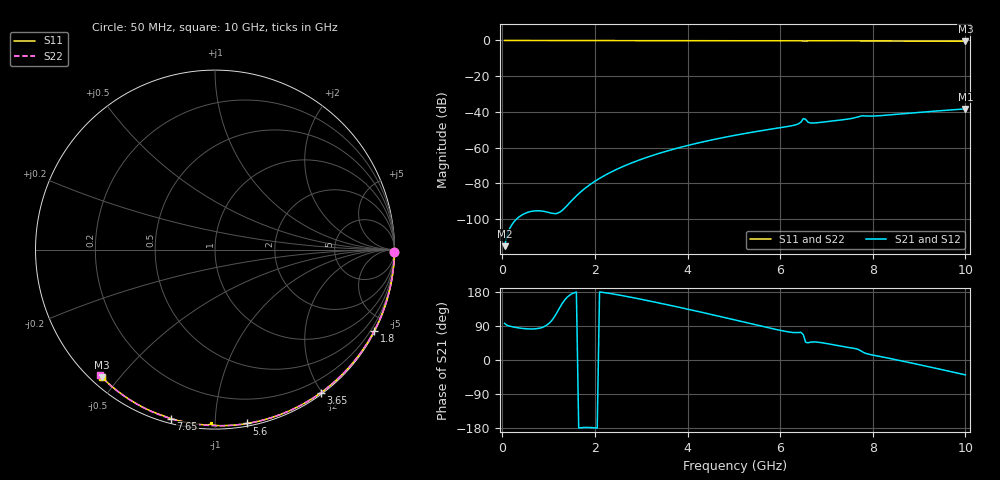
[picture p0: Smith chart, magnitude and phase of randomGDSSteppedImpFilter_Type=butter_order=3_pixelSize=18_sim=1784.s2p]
! freq	dB(S11)	phase(S11)	dB(S12)	phase(S12)
!  dB(S21)	phase(S21)	dB(S22)	phase(S22)
!S-par simulation data
#  GHz  S  DB  R 50
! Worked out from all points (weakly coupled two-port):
!   200 points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, 50 MHz to 10 GHz, reference 50 ohm
!   highest |S21| = -38.30 dB at 10 GHz (marker M1); lowest = -115.1 dB at 50 MHz (marker M2)
!   lowest |S11| = -0.4 dB at 10 GHz (marker M3), VSWR 38.70, Z = 1.55 - j22.5 ohm
!   |S11| at or under -10 dB: nowhere
!   |S22| runs from -0.4 to 0.0 dB; largest |S21 - S12| = 0
!   S11 on the Smith chart (normalised r, x): 50 MHz: open; 1.8 GHz: 0.04, -4.16; 3.65 GHz: 0.02, -1.98; 5.6 GHz: 0.02, -1.20; 7.65 GHz: 0.02, -0.77; 10 GHz: 0.03, -0.45
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0.05  -0.00 -0.8  -115.11 96.5  -115.11 96.5  -0.00 -0.8
0.9  -0.02 -13.6  -95.63 87.8  -95.63 87.8  -0.02 -13.7
1.75  -0.03 -26.3  -83.50 -178.1  -83.50 -178.1  -0.03 -26.5
1.8  -0.03 -27.0  -82.46 -177.9  -82.46 -177.9  -0.03 -27.2
1.95  -0.04 -29.2  -79.64 -178.5  -79.64 -178.5  -0.04 -29.4
2.25  -0.04 -33.6  -74.97 177.1  -74.97 177.1  -0.04 -33.9
2.55  -0.05 -38.0  -71.16 170.8  -71.16 170.8  -0.05 -38.2
3.4  -0.07 -50.1  -63.07 150.1  -63.07 150.1  -0.07 -50.4
3.65  -0.07 -53.5  -61.18 143.6  -61.18 143.6  -0.07 -53.9
5.05  -0.11 -72.4  -52.94 104.9  -52.94 104.9  -0.11 -72.9
5.6  -0.13 -79.6  -50.46 89.2  -50.46 89.2  -0.13 -80.1
6.3  -0.17 -88.6  -47.46 72.4  -47.46 72.4  -0.16 -88.9
6.4  -0.18 -90.0  -46.62 72.5  -46.62 72.5  -0.17 -90.2
6.45  -0.22 -90.8  -45.65 73.0  -45.65 73.0  -0.17 -90.8
6.5  -0.32 -91.4  -43.72 66.8  -43.72 66.8  -0.17 -91.4
6.55  -0.31 -90.9  -44.13 47.0  -44.13 47.0  -0.17 -92.0
6.6  -0.23 -91.5  -45.70 45.3  -45.70 45.3  -0.18 -92.7
6.7  -0.20 -93.0  -46.19 47.5  -46.19 47.5  -0.18 -93.9
7.65  -0.24 -104.6  -42.99 29.4  -42.99 29.4  -0.24 -105.4
7.75  -0.25 -105.8  -42.27 23.7  -42.27 23.7  -0.24 -106.6
8.35  -0.29 -112.9  -41.69 4.6  -41.69 4.6  -0.29 -113.6
10  -0.45 -131.5  -38.30 -39.2  -38.30 -39.2  -0.45 -132.6
